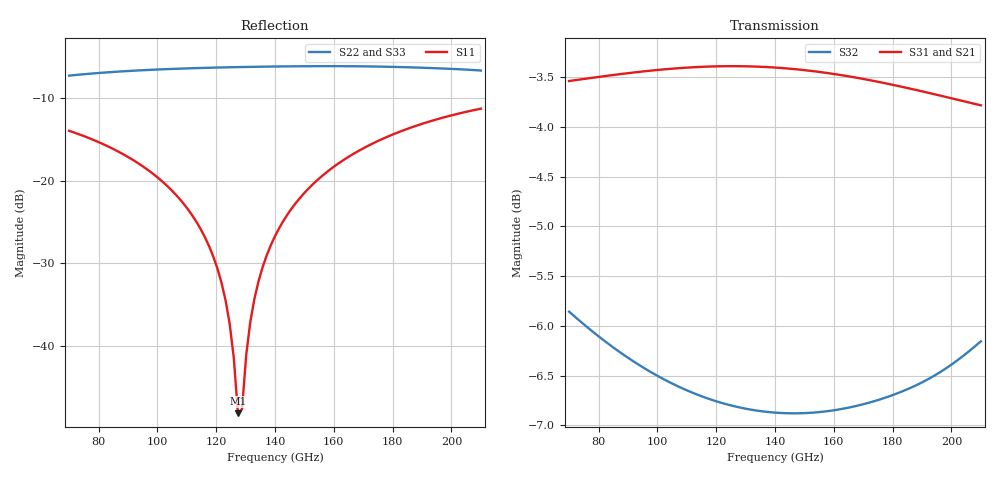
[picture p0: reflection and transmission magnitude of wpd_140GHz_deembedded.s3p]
! Created with skrf 2.0.1 (http://scikit-rf.org).
# GHz S DB R 50.0
!freq dBS11 angS11 dBS12 angS12 dBS13 angS13
! dBS21 angS21 dBS22 angS22 dBS23 angS23
! dBS31 angS31 dBS32 angS32 dBS33 angS33
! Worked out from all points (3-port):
!   101 points, 70 GHz to 210 GHz, reference 50 ohm
!   strongest paths, dB at 70 GHz, 105 GHz, 140 GHz, 175 GHz, 210 GHz:
!     S31: -3.5, -3.4, -3.4, -3.5, -3.8
!     S21: -3.5, -3.4, -3.4, -3.6, -3.8
!     S32: -5.9, -6.6, -6.9, -6.7, -6.2
!   lowest |S11| = -48.1 dB at 127.4 GHz (marker M1), VSWR 1.01, Z = 50.2 + j0.325 ohm
!   |S11| at or under -10 dB: start of sweep to end of sweep
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70  -13.98 138.5  -3.54 -43.0  -3.54 -43.0
    -3.54 -43.0  -7.32 51.2  -5.86 -98.6
    -3.54 -43.0  -5.86 -98.6  -7.34 51.2
113.4  -25.04 110.6  -3.41 -71.1  -3.40 -71.1
       -3.41 -71.1  -6.41 15.3  -6.69 -150.6
       -3.40 -71.1  -6.69 -150.6  -6.43 15.2
123.2  -34.46 98.7  -3.40 -77.6  -3.39 -77.6
       -3.40 -77.6  -6.32 8.6  -6.79 -162.0
       -3.39 -77.6  -6.79 -162.0  -6.34 8.5
126  -41.43 85.3  -3.40 -79.4  -3.39 -79.4
     -3.40 -79.4  -6.30 6.8  -6.81 -165.3
     -3.39 -79.4  -6.81 -165.3  -6.32 6.7
127.4  -48.09 55.1  -3.40 -80.3  -3.39 -80.4
       -3.40 -80.3  -6.29 5.8  -6.82 -166.9
       -3.39 -80.4  -6.82 -166.9  -6.31 5.7
128.8  -47.58 -29.1  -3.40 -81.3  -3.39 -81.3
       -3.40 -81.3  -6.28 4.9  -6.82 -168.5
       -3.39 -81.3  -6.82 -168.5  -6.30 4.8
133  -34.27 -69.1  -3.40 -84.1  -3.39 -84.1
     -3.40 -84.1  -6.26 2.2  -6.85 -173.4
     -3.39 -84.1  -6.85 -173.4  -6.28 2.1
140  -26.70 -78.5  -3.41 -88.7  -3.40 -88.7
     -3.41 -88.7  -6.22 -2.4  -6.87 178.5
     -3.40 -88.7  -6.87 178.5  -6.24 -2.5
165.2  -17.08 -96.1  -3.50 -105.3  -3.49 -105.4
       -3.50 -105.3  -6.19 -19.0  -6.82 149.3
       -3.49 -105.4  -6.82 149.3  -6.21 -19.1
210  -11.31 -122.4  -3.79 -133.9  -3.78 -134.0
     -3.79 -133.9  -6.71 -54.0  -6.15 96.3
     -3.78 -134.0  -6.15 96.3  -6.73 -54.1
